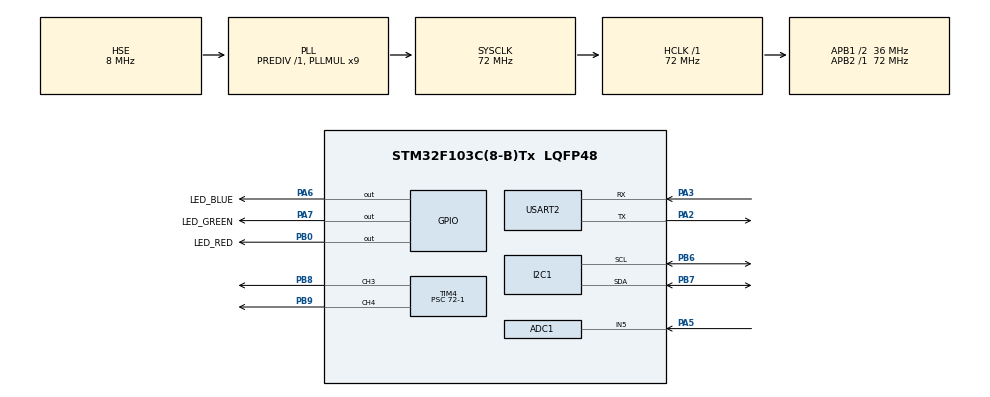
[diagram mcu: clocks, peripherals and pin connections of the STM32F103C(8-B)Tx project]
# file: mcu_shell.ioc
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ADC1.Channel-0\#ChannelRegularConversion=ADC_CHANNEL_5
ADC1.NbrOfConversionFlag=1
ADC1.Rank-0\#ChannelRegularConversion=1
ADC1.SamplingTime-0\#ChannelRegularConversion=ADC_SAMPLETIME_1CYCLE_5
ADC1.master=1
Dma.Request0=USART2_RX
Dma.Request1=USART2_TX
Dma.USART2_RX.0.Direction=DMA_PERIPH_TO_MEMORY
Dma.USART2_RX.0.Instance=DMA1_Channel6
Dma.USART2_RX.0.MemDataAlignment=DMA_MDATAALIGN_BYTE
Dma.USART2_RX.0.MemInc=DMA_MINC_ENABLE
Dma.USART2_RX.0.Mode=DMA_NORMAL
Dma.USART2_RX.0.PeriphDataAlignment=DMA_PDATAALIGN_BYTE
Dma.USART2_RX.0.PeriphInc=DMA_PINC_DISABLE
Dma.USART2_RX.0.Priority=DMA_PRIORITY_LOW
Dma.USART2_TX.1.Direction=DMA_MEMORY_TO_PERIPH
Dma.USART2_TX.1.Instance=DMA1_Channel7
Dma.USART2_TX.1.MemDataAlignment=DMA_MDATAALIGN_BYTE
Dma.USART2_TX.1.MemInc=DMA_MINC_ENABLE
Dma.USART2_TX.1.Mode=DMA_NORMAL
Dma.USART2_TX.1.PeriphDataAlignment=DMA_PDATAALIGN_BYTE
Dma.USART2_TX.1.PeriphInc=DMA_PINC_DISABLE
Dma.USART2_TX.1.Priority=DMA_PRIORITY_LOW
FREERTOS.Tasks01=UartTask,24,128,StartDefaultTask,Default,NULL,Dynamic,NULL,NULL;CmdTask,15,256,StartTask02,Default,NULL,Dynamic,NULL,NULL
Mcu.Family=STM32F1
Mcu.Name=STM32F103C(8-B)Tx
Mcu.Package=LQFP48
NVIC.DMA1_Channel6_IRQn=true\:5\:0\:false\:false\:true\:true\:false\:true\:true
NVIC.DMA1_Channel7_IRQn=true\:5\:0\:false\:false\:true\:true\:false\:true\:true
NVIC.PriorityGroup=NVIC_PRIORITYGROUP_4
NVIC.TIM1_UP_IRQn=true\:15\:0\:false\:false\:true\:false\:false\:true\:true
NVIC.TimeBase=TIM1_UP_IRQn
NVIC.TimeBaseIP=TIM1
NVIC.USART2_IRQn=true\:5\:0\:false\:false\:true\:true\:false\:true\:true
PA13.Mode=Serial_Wire
PA13.Signal=SYS_JTMS-SWDIO
PA14.Mode=Serial_Wire
PA14.Signal=SYS_JTCK-SWCLK
PA2.Mode=Asynchronous
PA2.Signal=USART2_TX
PA3.Mode=Asynchronous
PA3.Signal=USART2_RX
PA5.Signal=ADCx_IN5
PA6.GPIO_Label=LED_BLUE
PA6.Signal=GPIO_Output
PA7.GPIO_Label=LED_GREEN
PA7.Signal=GPIO_Output
PB0.GPIO_Label=LED_RED
PB0.Signal=GPIO_Output
PB6.Mode=I2C
PB6.Signal=I2C1_SCL
PB7.Mode=I2C
PB7.Signal=I2C1_SDA
PB8.Signal=S_TIM4_CH3
PB9.Signal=S_TIM4_CH4
PD0-OSC_IN.Mode=HSE-External-Oscillator
PD0-OSC_IN.Signal=RCC_OSC_IN
PD1-OSC_OUT.Mode=HSE-External-Oscillator
PD1-OSC_OUT.Signal=RCC_OSC_OUT
ProjectManager.HeapSize=0x200
ProjectManager.StackSize=0x400
ProjectManager.TargetToolchain=CMake
RCC.ADCPresc=RCC_ADCPCLK2_DIV6
RCC.AHBFreq_Value=72000000
RCC.APB1CLKDivider=RCC_HCLK_DIV2
RCC.APB1Freq_Value=36000000
RCC.APB1TimFreq_Value=72000000
RCC.APB2Freq_Value=72000000
RCC.APB2TimFreq_Value=72000000
RCC.HCLKFreq_Value=72000000
RCC.PLLMUL=RCC_PLL_MUL9
RCC.PLLSourceVirtual=RCC_PLLSOURCE_HSE
RCC.SYSCLKFreq_VALUE=72000000
RCC.SYSCLKSource=RCC_SYSCLKSOURCE_PLLCLK
RCC.USBFreq_Value=72000000
SH.ADCx_IN5.0=ADC1_IN5,IN5
SH.S_TIM4_CH3.0=TIM4_CH3,PWM Generation3 CH3
SH.S_TIM4_CH4.0=TIM4_CH4,PWM Generation4 CH4
TIM4.Channel-PWM\ Generation3\ CH3=TIM_CHANNEL_3
TIM4.Channel-PWM\ Generation4\ CH4=TIM_CHANNEL_4
TIM4.Period=250-1
TIM4.Prescaler=72-1
USART2.VirtualMode=VM_ASYNC
VP_FREERTOS_VS_CMSIS_V2.Mode=CMSIS_V2
VP_SYS_VS_tim1.Mode=TIM1
VP_TIM4_VS_ClockSourceINT.Mode=Internal
board=custom

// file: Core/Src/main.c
/* USER CODE BEGIN Header */
/**
  ******************************************************************************
  * @file           : main.c
  * @brief          : Main program body
  ******************************************************************************
  * @attention
  *
  * Copyright (c) 2026 STMicroelectronics.
  * All rights reserved.
  *
  * This software is licensed under terms that can be found in the LICENSE file
  * in the root directory of this software component.
  * If no LICENSE file comes with this software, it is provided AS-IS.
  *
  ******************************************************************************
  */
/* USER CODE END Header */
#include "main.h"
#include "cmsis_os.h"
#include "adc.h"
#include "dma.h"
#include "i2c.h"
#include "tim.h"
#include "usart.h"
#include "gpio.h"

/* USER CODE BEGIN Includes */
#include "app_uart.h"
#include "lib_buzzer.h"
#include "lib_pot.h"
/* USER CODE END Includes */

void SystemClock_Config(void);
void MX_FREERTOS_Init(void);

int main(void)
{

  /* MCU Configuration--------------------------------------------------------*/

  /* Reset of all peripherals, Initializes the Flash interface and the Systick. */
  HAL_Init();

  /* Configure the system clock */
  SystemClock_Config();

  /* Initialize all configured peripherals */
  MX_GPIO_Init();
  MX_DMA_Init();
  MX_USART2_UART_Init();
  MX_TIM4_Init();
  MX_ADC1_Init();
  MX_I2C1_Init();
  /* USER CODE BEGIN 2 */
  app_uart_init();
  lib_buzzer_init();
  lib_pot_calibrate();
  /* USER CODE END 2 */

  /* Init scheduler */
  osKernelInitialize();  /* Call init function for freertos objects (in cmsis_os2.c) */
  MX_FREERTOS_Init();

  /* Start scheduler */
  osKernelStart();

  /* We should never get here as control is now taken by the scheduler */

  /* Infinite loop */
  while (1)
  {

  }
}

void SystemClock_Config(void)
{
  RCC_OscInitTypeDef RCC_OscInitStruct = {0};
  RCC_ClkInitTypeDef RCC_ClkInitStruct = {0};
  RCC_PeriphCLKInitTypeDef PeriphClkInit = {0};

  /** Initializes the RCC Oscillators according to the specified parameters
  * in the RCC_OscInitTypeDef structure.
  */
  RCC_OscInitStruct.OscillatorType = RCC_OSCILLATORTYPE_HSE;
  RCC_OscInitStruct.HSEState = RCC_HSE_ON;
  RCC_OscInitStruct.HSEPredivValue = RCC_HSE_PREDIV_DIV1;
  RCC_OscInitStruct.HSIState = RCC_HSI_ON;
  RCC_OscInitStruct.PLL.PLLState = RCC_PLL_ON;
  RCC_OscInitStruct.PLL.PLLSource = RCC_PLLSOURCE_HSE;
  RCC_OscInitStruct.PLL.PLLMUL = RCC_PLL_MUL9;
  if (HAL_RCC_OscConfig(&RCC_OscInitStruct) != HAL_OK)
  {
    Error_Handler();
  }

  /** Initializes the CPU, AHB and APB buses clocks
  */
  RCC_ClkInitStruct.ClockType = RCC_CLOCKTYPE_HCLK|RCC_CLOCKTYPE_SYSCLK
                              |RCC_CLOCKTYPE_PCLK1|RCC_CLOCKTYPE_PCLK2;
  RCC_ClkInitStruct.SYSCLKSource = RCC_SYSCLKSOURCE_PLLCLK;
  RCC_ClkInitStruct.AHBCLKDivider = RCC_SYSCLK_DIV1;
  RCC_ClkInitStruct.APB1CLKDivider = RCC_HCLK_DIV2;
  RCC_ClkInitStruct.APB2CLKDivider = RCC_HCLK_DIV1;

  if (HAL_RCC_ClockConfig(&RCC_ClkInitStruct, FLASH_LATENCY_2) != HAL_OK)
  {
    Error_Handler();
  }
  PeriphClkInit.PeriphClockSelection = RCC_PERIPHCLK_ADC;
  PeriphClkInit.AdcClockSelection = RCC_ADCPCLK2_DIV6;
  if (HAL_RCCEx_PeriphCLKConfig(&PeriphClkInit) != HAL_OK)
  {
    Error_Handler();
  }
}

void HAL_TIM_PeriodElapsedCallback(TIM_HandleTypeDef *htim)
{
  if (htim->Instance == TIM1)
  {
    HAL_IncTick();
  }
}

void Error_Handler(void)
{
  __disable_irq();
  while (1)
  {
  }
}

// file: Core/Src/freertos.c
/* USER CODE BEGIN Header */
/**
  ******************************************************************************
  * File Name          : freertos.c
  * Description        : Code for freertos applications
  ******************************************************************************
  * @attention
  *
  * Copyright (c) 2026 STMicroelectronics.
  * All rights reserved.
  *
  * This software is licensed under terms that can be found in the LICENSE file
  * in the root directory of this software component.
  * If no LICENSE file comes with this software, it is provided AS-IS.
  *
  ******************************************************************************
  */
/* USER CODE END Header */

#include "FreeRTOS.h"
#include "task.h"
#include "main.h"
#include "cmsis_os.h"

/* USER CODE BEGIN Includes */
#include "app_uart.h"
/* USER CODE END Includes */

/* USER CODE BEGIN Variables */
osMessageQueueId_t CmdQueueHandle;
osSemaphoreId_t UartSemaphoreHandle;
/* USER CODE END Variables */
/* Definitions for UartTask */
osThreadId_t UartTaskHandle;
const osThreadAttr_t UartTask_attributes = {
  .name = "UartTask",
  .stack_size = 128 * 4,
  .priority = (osPriority_t) osPriorityNormal,
};
/* Definitions for CmdTask */
osThreadId_t CmdTaskHandle;
const osThreadAttr_t CmdTask_attributes = {
  .name = "CmdTask",
  .stack_size = 256 * 4,
  .priority = (osPriority_t) osPriorityLow7,
};

/* USER CODE BEGIN FunctionPrototypes */
osThreadId_t GetUartTaskHandleID(void);
osThreadId_t GetCmdTaskHandleID(void);
osMessageQueueId_t GetCmdQueueHandleID(void);
osSemaphoreId_t GetUartSemaphoreHandleID(void);
/* USER CODE END FunctionPrototypes */

void StartDefaultTask(void *argument);
void StartTask02(void *argument);

void MX_FREERTOS_Init(void); /* (MISRA C 2004 rule 8.1) */

void MX_FREERTOS_Init(void) {

  /* USER CODE BEGIN RTOS_SEMAPHORES */
  /* add semaphores, ... */
  UartSemaphoreHandle = osSemaphoreNew(1, 1, NULL);
  /* USER CODE END RTOS_SEMAPHORES */

  /* USER CODE BEGIN RTOS_QUEUES */
  /* add queues, ... */
  CmdQueueHandle = osMessageQueueNew(10, sizeof(executed_command_t), NULL);
  /* USER CODE END RTOS_QUEUES */

  /* Create the thread(s) */
  /* creation of UartTask */
  UartTaskHandle = osThreadNew(app_uart_process_task, NULL, &UartTask_attributes);

  /* creation of CmdTask */
  CmdTaskHandle = osThreadNew(app_uart_cmd_execute_task, NULL, &CmdTask_attributes);

}

void StartDefaultTask(void *argument)
{
  for(;;)
  {
    osDelay(1);
  }
}

void StartTask02(void *argument)
{
  for(;;)
  {
    osDelay(1);
  }
}

/* USER CODE BEGIN Application */
osThreadId_t GetUartTaskHandleID(void) {
  return UartTaskHandle;
}

osThreadId_t GetCmdTaskHandleID(void) {
  return CmdTaskHandle;
}

osMessageQueueId_t GetCmdQueueHandleID(void) {
  return CmdQueueHandle;
}

osSemaphoreId_t GetUartSemaphoreHandleID(void) {
  return UartSemaphoreHandle;
}
/* USER CODE END Application */
